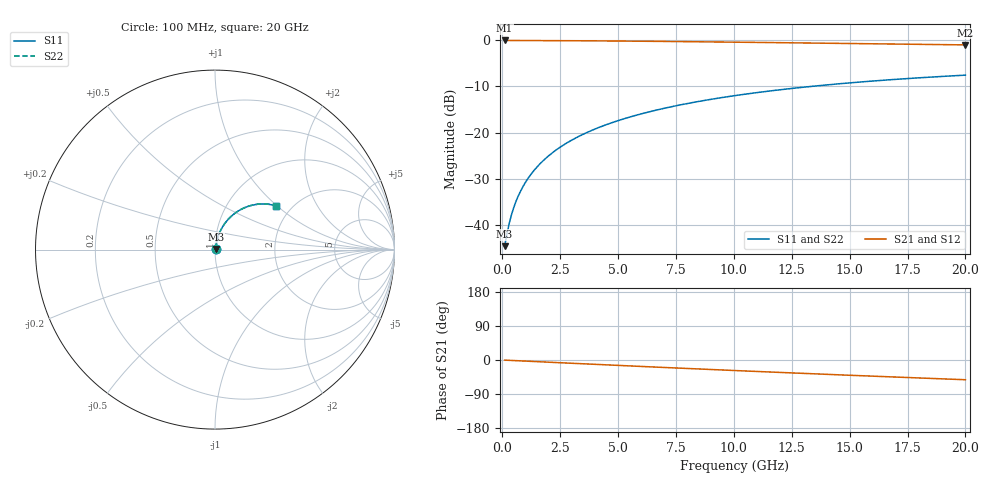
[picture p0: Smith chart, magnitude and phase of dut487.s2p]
! Touchstone file exported from HFSS 2026.1.0
!  File:  C:/ffzhzh/LocalFiles/Ansys_Project_Files/temp_train_BSMRDL_487_1783013943_51716.aedt
!  Generated:  01:40:36 AM Jul  3, 2026
!  Design:  BSMRDL
!  Project:  temp_train_BSMRDL_487_1783013943_51716
! Variables:
!  h_bsmrdl = 4.34um
!  h_ox = 20um
!  h_rdl = 5um
!  h_sub = 80um
!  h_tmrdl = 5um
!  h_tsv = 80um
!  h_via = 3um
!  l_bsmrdl = 836.17um
!  l_sub = 1236.17um
!  l_tmrdl = 200um
!  m_sub = 200um
!  pitch = 31.84um
!  r_tsv = 6um
!  s_tmrdl = 10um
!  w_bsmrdl = 13.76um
!  w_sub = 500um
!  w_tmrdl = 12um
!  x_tsv_center1 = 206um
!  x_tsv_center2 = 1055.93um
!  x_tsv_center3 = 1267.93um
!  x_tsv_center4 = 2117.86um
!  x_tsv_center5 = 2329.86um
!  x_tsv_center6 = 3179.79um
# GHz S MA R 50.000000
! Terminal data exported
! Port[1] = BSM_RDL1_1_T1
! Port[2] = BSM_RDL1_1_T2
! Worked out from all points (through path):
!   200 points, 100 MHz to 20 GHz, reference 50 ohm
!   highest |S21| = -0.04 dB at 100 MHz (marker M1); lowest = -1.0 dB at 20 GHz (marker M2)
!   group delay of S21, straight-line fit = 7.22 ps
!   lowest |S11| = -44.6 dB at 100 MHz (marker M3), VSWR 1.01, Z = 50.5 + j0.304 ohm
!   |S11| at or under -10 dB: start of sweep to 13.35 GHz
!   |S22| runs from -44.6 to -7.6 dB; largest |S21 - S12| = 3.1e-15
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0.1  0.005861 30.9  0.995 -0.3  0.995 -0.3  0.005861 30.9
! Gamma 0 0 0 0
! Port Impedance 50 0 50 0
0.2  0.007923 48.7  0.9948 -0.6  0.9948 -0.6  0.007923 48.7
0.3  0.01037 58.0  0.9946 -0.9  0.9946 -0.9  0.01037 58.0
0.4  0.01292 63.5  0.9944 -1.2  0.9944 -1.2  0.01292 63.5
0.5  0.01552 67.1  0.9942 -1.5  0.9942 -1.5  0.01552 67.1
0.6  0.01815 69.7  0.9941 -1.8  0.9941 -1.8  0.01815 69.7
0.8  0.02345 72.9  0.9938 -2.3  0.9938 -2.3  0.02345 72.9
1  0.02881 74.9  0.9935 -2.9  0.9935 -2.9  0.02881 74.9
1.2  0.03421 76.0  0.9932 -3.5  0.9932 -3.5  0.03421 76.0
1.4  0.03962 76.7  0.9929 -4.1  0.9929 -4.1  0.03962 76.7
1.7  0.04776 77.2  0.9923 -4.9  0.9923 -4.9  0.04775 77.2
2.2  0.06128 77.1  0.9912 -6.4  0.9912 -6.4  0.06128 77.1
2.8  0.07739 76.4  0.9895 -8.1  0.9895 -8.1  0.07739 76.4
3.5  0.09593 75.0  0.9872 -10.1  0.9872 -10.1  0.09593 75.0
4.2  0.1141 73.5  0.9846 -12.0  0.9846 -12.0  0.1141 73.5
5  0.1345 71.5  0.9811 -14.3  0.9811 -14.3  0.1345 71.6
6.8  0.1785 67.0  0.9723 -19.2  0.9723 -19.2  0.1785 67.1
8.3  0.2132 63.3  0.964 -23.2  0.964 -23.2  0.2131 63.3
10.1  0.2523 58.8  0.9533 -28.0  0.9533 -28.0  0.2523 58.8
13.4  0.3171 50.8  0.9324 -36.3  0.9324 -36.3  0.3171 50.8
16.7  0.3725 43.1  0.9111 -44.4  0.9111 -44.4  0.3725 43.1
20  0.4185 35.6  0.8907 -52.1  0.8907 -52.1  0.4185 35.7
